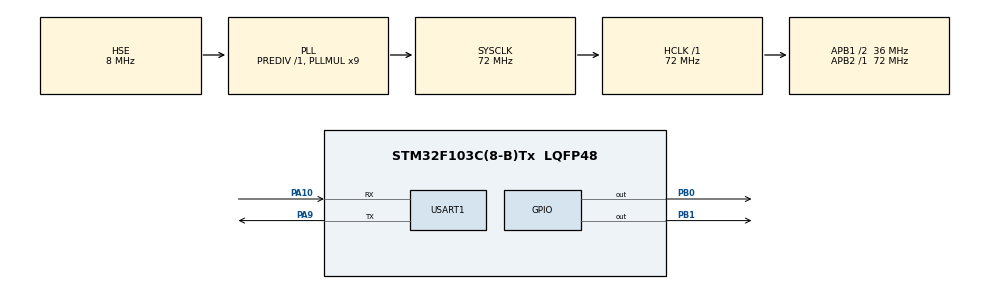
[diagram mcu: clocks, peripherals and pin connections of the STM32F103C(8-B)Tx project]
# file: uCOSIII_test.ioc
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Mcu.Family=STM32F1
Mcu.Name=STM32F103C(8-B)Tx
Mcu.Package=LQFP48
NVIC.PriorityGroup=NVIC_PRIORITYGROUP_4
PA10.Mode=Asynchronous
PA10.Signal=USART1_RX
PA13.Mode=Serial_Wire
PA13.Signal=SYS_JTMS-SWDIO
PA14.Mode=Serial_Wire
PA14.Signal=SYS_JTCK-SWCLK
PA9.Mode=Asynchronous
PA9.Signal=USART1_TX
PB0.Signal=GPIO_Output
PB1.Signal=GPIO_Output
PD0-OSC_IN.Mode=HSE-External-Oscillator
PD0-OSC_IN.Signal=RCC_OSC_IN
PD1-OSC_OUT.Mode=HSE-External-Oscillator
PD1-OSC_OUT.Signal=RCC_OSC_OUT
ProjectManager.HeapSize=0x200
ProjectManager.StackSize=0x400
ProjectManager.TargetToolchain=MDK-ARM V5
RCC.AHBFreq_Value=72000000
RCC.APB1CLKDivider=RCC_HCLK_DIV2
RCC.APB1Freq_Value=36000000
RCC.APB1TimFreq_Value=72000000
RCC.APB2Freq_Value=72000000
RCC.APB2TimFreq_Value=72000000
RCC.HCLKFreq_Value=72000000
RCC.PLLMUL=RCC_PLL_MUL9
RCC.PLLSourceVirtual=RCC_PLLSOURCE_HSE
RCC.SYSCLKFreq_VALUE=72000000
RCC.SYSCLKSource=RCC_SYSCLKSOURCE_PLLCLK
RCC.USBFreq_Value=72000000
USART1.VirtualMode=VM_ASYNC
board=custom

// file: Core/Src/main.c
#include "main.h"
#include "gpio.h"
#include "usart.h"
#include <includes.h>

#define LED1_TASK_PRIO      5
#define LED2_TASK_PRIO      6
#define UART_TASK_PRIO      7
#define LED1_TASK_STK_SIZE  128
#define LED2_TASK_STK_SIZE  128
#define UART_TASK_STK_SIZE  128
#define APP_TASK_START_STK_SIZE 128

static OS_TCB AppTaskStartTCB;
static CPU_STK AppTaskStartStk[APP_TASK_START_STK_SIZE];
static OS_TCB Led1TaskTCB;
static CPU_STK Led1TaskStk[LED1_TASK_STK_SIZE];
static OS_TCB Led2TaskTCB;
static CPU_STK Led2TaskStk[LED2_TASK_STK_SIZE];
static OS_TCB UartTaskTCB;
static CPU_STK UartTaskStk[UART_TASK_STK_SIZE];

static void AppTaskCreate(void);
static void AppObjCreate(void);
static void AppTaskStart(void *p_arg);
static void Led1Task(void *p_arg);
static void Led2Task(void *p_arg);
static void UartTask(void *p_arg);

void SystemClock_Config(void);

int main(void)
{
    OS_ERR err;
    HAL_Init();
    SystemClock_Config();
    MX_GPIO_Init();
    MX_USART1_UART_Init();  // 串口初始化，一定要加上

    OSInit(&err);

    OSTaskCreate(&AppTaskStartTCB,
                 "App Task Start",
                 AppTaskStart,
                 0,
                 LED1_TASK_PRIO - 1,
                 &AppTaskStartStk[0],
                 16, APP_TASK_START_STK_SIZE,
                 0, 0, 0,
                 OS_OPT_TASK_STK_CHK | OS_OPT_TASK_STK_CLR,
                 &err);

    OSStart(&err);
}

static void AppTaskStart(void *p_arg)
{
    OS_ERR err;
    (void)p_arg;
    AppTaskCreate();
    AppObjCreate();
    while (1) {
        OSTimeDly(100, OS_OPT_TIME_DLY, &err);
    }
}

static void AppTaskCreate(void)
{
    OS_ERR err;
    OSTaskCreate(&Led1TaskTCB,
                 "Led1 Task",
                 Led1Task,
                 0,
                 LED1_TASK_PRIO,
                 &Led1TaskStk[0],
                 16, LED1_TASK_STK_SIZE,
                 0, 0, 0,
                 OS_OPT_TASK_STK_CHK | OS_OPT_TASK_STK_CLR,
                 &err);
    OSTaskCreate(&Led2TaskTCB,
                 "Led2 Task",
                 Led2Task,
                 0,
                 LED2_TASK_PRIO,
                 &Led2TaskStk[0],
                 16, LED2_TASK_STK_SIZE,
                 0, 0, 0,
                 OS_OPT_TASK_STK_CHK | OS_OPT_TASK_STK_CLR,
                 &err);
    OSTaskCreate(&UartTaskTCB,
                 "Uart Task",
                 UartTask,
                 0,
                 UART_TASK_PRIO,
                 &UartTaskStk[0],
                 16, UART_TASK_STK_SIZE,
                 0, 0, 0,
                 OS_OPT_TASK_STK_CHK | OS_OPT_TASK_STK_CLR,
                 &err);
}

static void AppObjCreate(void) {}

// LED1：1秒周期闪烁
static void Led1Task(void *p_arg)
{
    OS_ERR err;
    (void)p_arg;
    while (1)
    {
        HAL_GPIO_WritePin(GPIOB, GPIO_PIN_0, GPIO_PIN_SET);
        OSTimeDly(1000, OS_OPT_TIME_DLY, &err);
        HAL_GPIO_WritePin(GPIOB, GPIO_PIN_0, GPIO_PIN_RESET);
        OSTimeDly(1000, OS_OPT_TIME_DLY, &err);
    }
}
// LED2：3秒周期闪烁
static void Led2Task(void *p_arg)
{
    OS_ERR err;
    (void)p_arg;
    while (1)
    {
        HAL_GPIO_WritePin(GPIOB, GPIO_PIN_1, GPIO_PIN_SET);
        OSTimeDly(3000, OS_OPT_TIME_DLY, &err);
        HAL_GPIO_WritePin(GPIOB, GPIO_PIN_1, GPIO_PIN_RESET);
        OSTimeDly(3000, OS_OPT_TIME_DLY, &err);
    }
}
// 串口发送：2秒周期
static void UartTask(void *p_arg)
{
    OS_ERR err;
    (void)p_arg;
    char msg[] = "hello uc/OS! 欢迎来到RTOS多任务环境！\r\n";
    while(1)
    {
        HAL_UART_Transmit(&huart1, (uint8_t*)msg, sizeof(msg)-1, 100);
        OSTimeDly(2000, OS_OPT_TIME_DLY, &err);
    }
}

/* 必须有的外部变量和初始化函数声明 */
extern UART_HandleTypeDef huart1;
// SystemClock_Config/MX_GPIO_Init/MX_USART1_UART_Init函数要在stm32cube生成并链接

void Error_Handler(void) {}
/* USER CODE BEGIN 4 */
// 添加 SystemClock_Config 函数实现
void SystemClock_Config(void)
{
    RCC_OscInitTypeDef RCC_OscInitStruct = {0};
    RCC_ClkInitTypeDef RCC_ClkInitStruct = {0};

    /** Initializes the RCC Oscillators according to the specified parameters
    * in the RCC_OscInitTypeDef structure.
    */
    RCC_OscInitStruct.OscillatorType = RCC_OSCILLATORTYPE_HSE;
    RCC_OscInitStruct.HSEState = RCC_HSE_ON;
    RCC_OscInitStruct.HSEPredivValue = RCC_HSE_PREDIV_DIV1;
    RCC_OscInitStruct.HSIState = RCC_HSI_ON;
    RCC_OscInitStruct.PLL.PLLState = RCC_PLL_ON;
    RCC_OscInitStruct.PLL.PLLSource = RCC_PLLSOURCE_HSE;
    RCC_OscInitStruct.PLL.PLLMUL = RCC_PLL_MUL9;
    if (HAL_RCC_OscConfig(&RCC_OscInitStruct) != HAL_OK)
    {
        Error_Handler();
    }

    /** Initializes the CPU, AHB and APB buses clocks
    */
    RCC_ClkInitStruct.ClockType = RCC_CLOCKTYPE_HCLK|RCC_CLOCKTYPE_SYSCLK
                                |RCC_CLOCKTYPE_PCLK1|RCC_CLOCKTYPE_PCLK2;
    RCC_ClkInitStruct.SYSCLKSource = RCC_SYSCLKSOURCE_PLLCLK;
    RCC_ClkInitStruct.AHBCLKDivider = RCC_SYSCLK_DIV1;
    RCC_ClkInitStruct.APB1CLKDivider = RCC_HCLK_DIV2;
    RCC_ClkInitStruct.APB2CLKDivider = RCC_HCLK_DIV1;

    if (HAL_RCC_ClockConfig(&RCC_ClkInitStruct, FLASH_LATENCY_2) != HAL_OK)
    {
        Error_Handler();
    }
}
/* USER CODE END 4 */
